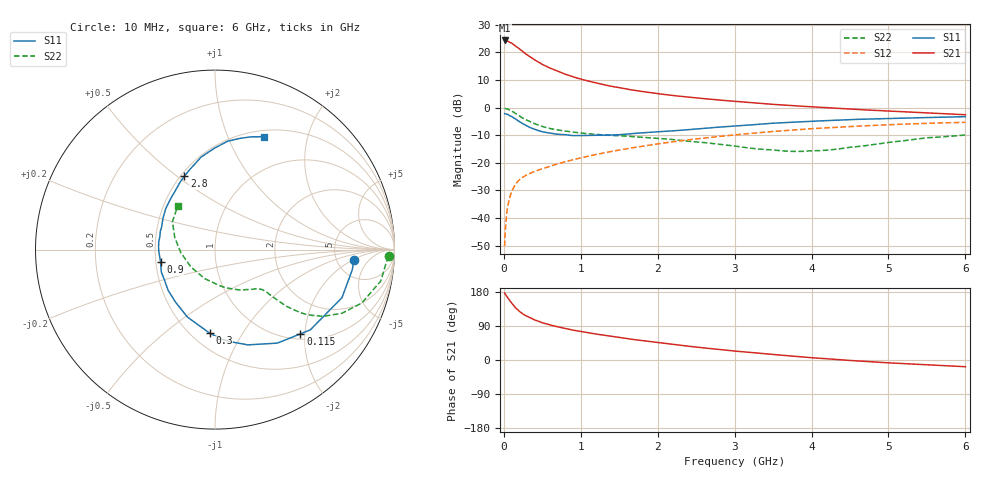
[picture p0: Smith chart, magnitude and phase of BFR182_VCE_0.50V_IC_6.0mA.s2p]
! Infineon Technologies  Discrete & RF Semiconductors
! BFR182
! VCE = 0.50 V,  IC =  6.0 mA
! Common Emitter S-Parameters:  Nov 2015
# GHz  S  MA  R  50
!  f  S11  S21  S12  S22
! GHz  MAG  ANG  MAG  ANG  MAG  ANG  MAG  ANG
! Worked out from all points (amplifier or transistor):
!   210 points, 10 MHz to 6 GHz, reference 50 ohm
!   highest |S21| = 24.3 dB at 10 MHz (marker M1)
!   |S21| within 3 dB of that: start of sweep to 200.6 MHz
!   unconditionally stable (mu >= 1): 767.6 MHz to 3.849 GHz
!   at 185 MHz: K = 0.41, MSG = 24.1 dB, |S12| = -26.7 dB
!   at 1.52 GHz: K = 1.13, MAG = 9.0 dB, |S12| = -15.3 dB
!   at 6 GHz: K = 0.99, MSG = 1.4 dB, |S12| = -5.3 dB
!   S11 on the Smith chart (normalised r, x): 10 MHz: 7.24, -2.15; 115 MHz: 1.12, -1.90; 300 MHz: 0.61, -0.73; 900 MHz: 0.53, -0.08; 2.8 GHz: 0.52, +0.53; 6 GHz: 0.57, +1.36
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0.01  0.775 -4.4  16.4 176.9  0.0031 87.4  0.9674 -2.2
0.025  0.768 -10.3  16.05 172.1  0.0079 86.3  0.9532 -5.4
0.05  0.7565 -20.7  15.96 164.4  0.0162 79.9  0.9402 -10.7
0.1  0.6942 -40.1  14.75 150.4  0.0298 71.1  0.8706 -20.0
0.115  0.6684 -44.6  14.18 147.0  0.033 68.7  0.8453 -21.9
0.15  0.6263 -56.3  13.07 138.1  0.0406 64.6  0.7902 -26.7
0.2  0.5619 -70.9  11.63 128.7  0.0491 60.5  0.7097 -31.6
0.26  0.5003 -85.7  9.971 119.8  0.0563 57.0  0.63 -35.1
0.3  0.4663 -93.7  9.049 115.1  0.0609 56.1  0.5909 -36.5
0.4  0.4059 -112.3  7.323 105.8  0.07 54.7  0.51 -38.4
0.5  0.366 -127.0  6.047 98.2  0.0782 55.1  0.4526 -39.0
0.6  0.3456 -139.2  5.189 92.5  0.0868 55.2  0.4171 -39.2
0.7  0.3289 -148.8  4.537 87.5  0.0957 56.0  0.3936 -39.4
0.9  0.3111 -167.2  3.594 78.8  0.1136 56.7  0.3596 -39.7
1.02  0.3124 -176.8  3.221 74.5  0.1246 57.2  0.3443 -40.4
1.4  0.3211 161.7  2.423 62.6  0.161 56.9  0.3134 -44.4
2.02  0.3662 135.4  1.773 45.6  0.2225 53.6  0.276 -54.4
2.8  0.4428 112.6  1.37 27.8  0.3016 46.6  0.217 -76.0
3.1  0.4733 106.3  1.264 21.9  0.3301 43.1  0.1923 -87.8
4.1  0.5731 88.8  1.013 4.7  0.422 31.2  0.1663 -150.8
5.1  0.64 76.2  0.852 -8.5  0.4956 18.8  0.2422 159.5
6  0.6848 66.7  0.742 -17.7  0.5405 6.8  0.319 130.7
